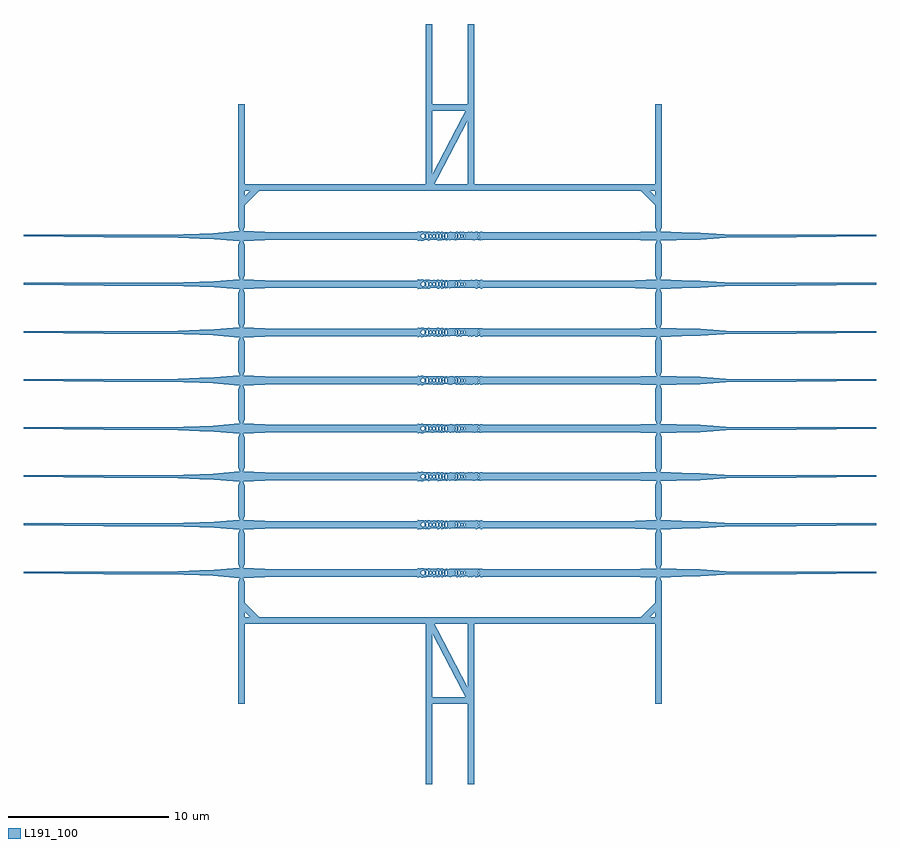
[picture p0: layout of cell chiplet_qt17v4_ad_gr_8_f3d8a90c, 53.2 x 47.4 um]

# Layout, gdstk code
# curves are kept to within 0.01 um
from math import pi, radians
import gdstk
lib = gdstk.Library(unit=1e-6, precision=1e-09)
def R(c, l, rs):  # rectangles x0, y0, x1, y1
    for r in rs: c.add(gdstk.rectangle(r[:2], r[2:], *l))
def P(c, l, *ps):  # polygons
    for p in ps: c.add(gdstk.Polygon(p, *l))
L191_100 = (191, 100)

qt17_180nm_gap_cavity_9e = lib.new_cell('QT17_180nm_gap_cavity_9e89cd71')
P(qt17_180nm_gap_cavity_9e, L191_100, [(-1.999,0.298),(-1.892,0.264),(-1.744,0.295),(-1.608,0.257),(-1.52,0.268),(-1.424,0.261),(-1.328,0.276),(-1.16,0.245),(-1,0.265),(-0.852,0.248),(-0.732,0.276),(-0.624,0.241),(-0.5,0.272),(-0.356,0.224),(-0.208,0.248),(-0.112,0.221),(0.012,0.26),(0.312,0.239),(0.424,0.263),(0.552,0.243),(0.64,0.264),(0.744,0.251),(0.816,0.26),(1.084,0.252),(1.148,0.263),(1.268,0.252),(1.336,0.265),(1.464,0.241),(1.668,0.268),(1.82,0.239),(1.928,0.267),(2,0.268),(2.002,0.057),(1.804,0.057),(1.831,0.066),(1.845,0.094),(1.83,0.15),(1.804,0.172),(1.76,0.154),(1.739,0.102),(1.748,0.079),(1.78,0.06),(2.002,0.057),(2.002,-0.172),(1.804,-0.172),(1.83,-0.15),(1.845,-0.106),(1.836,-0.071),(1.804,-0.057),(1.748,-0.079),(1.742,-0.123),(0.924,-0.123),(0.947,-0.086),(0.947,0.086),(0.924,0.123),(0.895,0.11),(0.874,0.058),(0.868,-0.014),(0.881,-0.083),(0.752,-0.083),(0.801,-0.042),(0.809,0.026),(0.786,0.062),(0.752,0.083),(0.707,0.058),(0.682,0.014),(0.682,-0.014),(0.732,-0.079),(0.881,-0.083),(0.916,-0.123),(1.742,-0.123),(1.778,-0.168),(0.548,-0.168),(0.598,-0.126),(0.642,-0.01),(0.598,0.126),(0.548,0.168),(0.52,0.159),(0.501,0.122),(0.53,0.014),(0.501,-0.122),(0.526,-0.163),(0.364,-0.163),(0.416,-0.14),(0.438,-0.106),(0.419,-0.01),(0.437,0.11),(0.412,0.143),(0.364,0.163),(0.33,0.138),(0.339,0.072),(0.2,0.072),(0.224,0.086),(0.23,0.11),(0.192,0.142),(0.168,0.136),(0.154,0.11),(0.18,0.072),(0.339,0.072),(0.362,0.006),(0.33,-0.098),(0.332,-0.142),(0.192,-0.142),(0.23,-0.11),(0.224,-0.086),(0.2,-0.072),(0.16,-0.087),(0.159,-0.126),(0.183,-0.142),(0.332,-0.142),(0.338,-0.152),(-0.212,-0.152),(-0.182,-0.138),(-0.173,-0.11),(-0.186,-0.026),(-0.174,0.122),(-0.212,0.152),(-0.272,0.136),(-0.298,0.09),(-0.298,-0.09),(-0.286,-0.122),(-0.248,-0.148),(0.338,-0.152),(0.36,-0.163),(0.536,-0.168),(1.78,-0.169),(-0.388,-0.169),(-0.36,-0.154),(-0.346,-0.122),(-0.387,-0.002),(-0.346,0.122),(-0.36,0.154),(-0.388,0.169),(-0.444,0.151),(-0.474,0.098),(-0.45,0.01),(-0.474,-0.098),(-0.453,-0.142),(-0.595,-0.142),(-0.554,-0.122),(-0.534,-0.09),(-0.549,-0.01),(-0.534,0.09),(-0.56,0.127),(-0.595,0.142),(-0.62,0.134),(-0.646,0.094),(-0.662,0.03),(-0.653,-0.074),(-0.62,-0.134),(-0.453,-0.142),(-0.425,-0.163),(-0.804,-0.163),(-0.763,-0.134),(-0.738,-0.07),(-0.742,0.09),(-0.766,0.138),(-0.804,0.163),(-0.834,0.15),(-0.858,0.094),(-0.855,-0.107),(-1,-0.107),(-0.95,-0.07),(-0.922,-0.01),(-0.94,0.056),(-1,0.107),(-1.048,0.082),(-1.081,0.01),(-1.065,-0.058),(-1.022,-0.103),(-1.204,-0.103),(-1.16,-0.068),(-1.138,-0.006),(-1.154,0.058),(-1.196,0.101),(-1.228,0.099),(-1.264,0.07),(-1.288,0.026),(-1.291,-0.01),(-1.264,-0.07),(-1.216,-0.103),(-0.855,-0.107),(-0.834,-0.15),(-0.812,-0.163),(2.002,-0.175),(-1.424,-0.175),(-1.379,-0.142),(-1.358,-0.07),(-1.366,0.114),(-1.392,0.158),(-1.424,0.175),(-1.469,0.154),(-1.501,0.09),(-1.487,0.01),(-1.501,-0.09),(-1.482,-0.136),(-1.656,-0.136),(-1.606,-0.106),(-1.583,-0.042),(-1.587,0.074),(-1.606,0.106),(-1.644,0.133),(-1.704,0.131),(-1.767,0.098),(-1.805,0.05),(-1.815,-0.01),(-1.79,-0.074),(-1.724,-0.124),(-1.68,-0.136),(-1.482,-0.136),(-1.436,-0.175),(2.002,-0.175),(2.002,-0.262),(1.928,-0.267),(1.82,-0.239),(1.668,-0.268),(1.464,-0.241),(1.336,-0.265),(1.268,-0.252),(1.148,-0.263),(1.084,-0.252),(0.816,-0.26),(0.744,-0.251),(0.64,-0.264),(0.552,-0.243),(0.424,-0.263),(0.312,-0.239),(0.012,-0.26),(-0.112,-0.221),(-0.208,-0.248),(-0.356,-0.224),(-0.5,-0.272),(-0.624,-0.241),(-0.732,-0.276),(-0.852,-0.248),(-1,-0.265),(-1.16,-0.245),(-1.328,-0.276),(-1.424,-0.261),(-1.52,-0.268),(-1.608,-0.257),(-1.744,-0.295),(-1.892,-0.264),(-2,-0.298)])

taper_cross_section_b099 = lib.new_cell('taper_cross_section_b0997aaa')
P(taper_cross_section_b099, L191_100, [(0,-0.23),(0.03,-0.23),(0.061,-0.23),(0.091,-0.23),(0.121,-0.23),(0.152,-0.23),(0.182,-0.23),(0.212,-0.23),(0.242,-0.23),(0.273,-0.23),(0.303,-0.23),(0.333,-0.23),(0.364,-0.23),(0.394,-0.23),(0.424,-0.23),(0.455,-0.23),(0.485,-0.23),(0.515,-0.23),(0.545,-0.23),(0.576,-0.23),(0.606,-0.23),(0.636,-0.23),(0.667,-0.23),(0.697,-0.23),(0.727,-0.23),(0.758,-0.23),(0.788,-0.23),(0.818,-0.23),(0.848,-0.23),(0.879,-0.23),(0.909,-0.23),(0.939,-0.23),(0.97,-0.23),(1,-0.23),(1.03,-0.23),(1.061,-0.23),(1.091,-0.23),(1.121,-0.23),(1.152,-0.23),(1.182,-0.23),(1.212,-0.23),(1.242,-0.23),(1.273,-0.23),(1.303,-0.23),(1.333,-0.23),(1.364,-0.23),(1.394,-0.23),(1.424,-0.23),(1.455,-0.23),(1.485,-0.23),(1.515,-0.23),(1.545,-0.23),(1.576,-0.23),(1.606,-0.23),(1.636,-0.23),(1.667,-0.23),(1.697,-0.23),(1.727,-0.23),(1.758,-0.23),(1.788,-0.23),(1.818,-0.23),(1.848,-0.23),(1.879,-0.23),(1.909,-0.23),(1.939,-0.23),(1.97,-0.23),(2,-0.23),(2.03,-0.23),(2.061,-0.23),(2.091,-0.23),(2.121,-0.23),(2.152,-0.23),(2.182,-0.23),(2.212,-0.23),(2.242,-0.23),(2.273,-0.23),(2.303,-0.23),(2.333,-0.23),(2.364,-0.23),(2.394,-0.23),(2.424,-0.23),(2.455,-0.23),(2.485,-0.23),(2.515,-0.23),(2.545,-0.23),(2.576,-0.23),(2.606,-0.23),(2.636,-0.23),(2.667,-0.23),(2.697,-0.23),(2.727,-0.23),(2.758,-0.23),(2.788,-0.23),(2.818,-0.23),(2.848,-0.23),(2.879,-0.23),(2.909,-0.23),(2.939,-0.23),(2.97,-0.23),(3,-0.23),(3,0.23),(2.97,0.23),(2.939,0.23),(2.909,0.23),(2.879,0.23),(2.848,0.23),(2.818,0.23),(2.788,0.23),(2.758,0.23),(2.727,0.23),(2.697,0.23),(2.667,0.23),(2.636,0.23),(2.606,0.23),(2.576,0.23),(2.545,0.23),(2.515,0.23),(2.485,0.23),(2.455,0.23),(2.424,0.23),(2.394,0.23),(2.364,0.23),(2.333,0.23),(2.303,0.23),(2.273,0.23),(2.242,0.23),(2.212,0.23),(2.182,0.23),(2.152,0.23),(2.121,0.23),(2.091,0.23),(2.061,0.23),(2.03,0.23),(2,0.23),(1.97,0.23),(1.939,0.23),(1.909,0.23),(1.879,0.23),(1.848,0.23),(1.818,0.23),(1.788,0.23),(1.758,0.23),(1.727,0.23),(1.697,0.23),(1.667,0.23),(1.636,0.23),(1.606,0.23),(1.576,0.23),(1.545,0.23),(1.515,0.23),(1.485,0.23),(1.455,0.23),(1.424,0.23),(1.394,0.23),(1.364,0.23),(1.333,0.23),(1.303,0.23),(1.273,0.23),(1.242,0.23),(1.212,0.23),(1.182,0.23),(1.152,0.23),(1.121,0.23),(1.091,0.23),(1.061,0.23),(1.03,0.23),(1,0.23),(0.97,0.23),(0.939,0.23),(0.909,0.23),(0.879,0.23),(0.848,0.23),(0.818,0.23),(0.788,0.23),(0.758,0.23),(0.727,0.23),(0.697,0.23),(0.667,0.23),(0.636,0.23),(0.606,0.23),(0.576,0.23),(0.545,0.23),(0.515,0.23),(0.485,0.23),(0.455,0.23),(0.424,0.23),(0.394,0.23),(0.364,0.23),(0.333,0.23),(0.303,0.23),(0.273,0.23),(0.242,0.23),(0.212,0.23),(0.182,0.23),(0.152,0.23),(0.121,0.23),(0.091,0.23),(0.061,0.23),(0.03,0.23),(0,0.23)])

taper_cross_section_83e5 = lib.new_cell('taper_cross_section_83e5c939')
P(taper_cross_section_83e5, L191_100, [(0,-0.23),(0.03,-0.23),(0.061,-0.23),(0.091,-0.23),(0.121,-0.23),(0.152,-0.23),(0.182,-0.23),(0.212,-0.23),(0.242,-0.23),(0.273,-0.23),(0.303,-0.23),(0.333,-0.23),(0.364,-0.23),(0.394,-0.23),(0.424,-0.23),(0.455,-0.23),(0.485,-0.23),(0.515,-0.23),(0.545,-0.23),(0.576,-0.23),(0.606,-0.23),(0.636,-0.23),(0.667,-0.23),(0.697,-0.23),(0.727,-0.23),(0.758,-0.23),(0.788,-0.23),(0.818,-0.23),(0.848,-0.23),(0.879,-0.23),(0.909,-0.23),(0.939,-0.23),(0.97,-0.23),(1,-0.23),(1.03,-0.23),(1.061,-0.23),(1.091,-0.23),(1.121,-0.23),(1.152,-0.23),(1.182,-0.23),(1.212,-0.23),(1.242,-0.23),(1.273,-0.23),(1.303,-0.23),(1.333,-0.23),(1.364,-0.23),(1.394,-0.23),(1.424,-0.23),(1.455,-0.23),(1.485,-0.23),(1.515,-0.23),(1.545,-0.23),(1.576,-0.23),(1.606,-0.23),(1.636,-0.23),(1.667,-0.23),(1.697,-0.23),(1.727,-0.23),(1.758,-0.23),(1.788,-0.23),(1.818,-0.23),(1.848,-0.23),(1.879,-0.23),(1.909,-0.23),(1.939,-0.23),(1.97,-0.23),(2,-0.23),(2.03,-0.23),(2.061,-0.23),(2.091,-0.23),(2.121,-0.23),(2.152,-0.23),(2.182,-0.23),(2.212,-0.23),(2.242,-0.23),(2.273,-0.23),(2.303,-0.23),(2.333,-0.23),(2.364,-0.23),(2.394,-0.23),(2.424,-0.23),(2.455,-0.23),(2.485,-0.23),(2.515,-0.23),(2.545,-0.23),(2.576,-0.23),(2.606,-0.23),(2.636,-0.23),(2.667,-0.23),(2.697,-0.23),(2.727,-0.23),(2.758,-0.23),(2.788,-0.23),(2.818,-0.23),(2.848,-0.23),(2.879,-0.23),(2.909,-0.23),(2.939,-0.23),(2.97,-0.23),(3,-0.23),(3,0.23),(2.97,0.23),(2.939,0.23),(2.909,0.23),(2.879,0.23),(2.848,0.23),(2.818,0.23),(2.788,0.23),(2.758,0.23),(2.727,0.23),(2.697,0.23),(2.667,0.23),(2.636,0.23),(2.606,0.23),(2.576,0.23),(2.545,0.23),(2.515,0.23),(2.485,0.23),(2.455,0.23),(2.424,0.23),(2.394,0.23),(2.364,0.23),(2.333,0.23),(2.303,0.23),(2.273,0.23),(2.242,0.23),(2.212,0.23),(2.182,0.23),(2.152,0.23),(2.121,0.23),(2.091,0.23),(2.061,0.23),(2.03,0.23),(2,0.23),(1.97,0.23),(1.939,0.23),(1.909,0.23),(1.879,0.23),(1.848,0.23),(1.818,0.23),(1.788,0.23),(1.758,0.23),(1.727,0.23),(1.697,0.23),(1.667,0.23),(1.636,0.23),(1.606,0.23),(1.576,0.23),(1.545,0.23),(1.515,0.23),(1.485,0.23),(1.455,0.23),(1.424,0.23),(1.394,0.23),(1.364,0.23),(1.333,0.23),(1.303,0.23),(1.273,0.23),(1.242,0.23),(1.212,0.23),(1.182,0.23),(1.152,0.23),(1.121,0.23),(1.091,0.23),(1.061,0.23),(1.03,0.23),(1,0.23),(0.97,0.23),(0.939,0.23),(0.909,0.23),(0.879,0.23),(0.848,0.23),(0.818,0.23),(0.788,0.23),(0.758,0.23),(0.727,0.23),(0.697,0.23),(0.667,0.23),(0.636,0.23),(0.606,0.23),(0.576,0.23),(0.545,0.23),(0.515,0.23),(0.485,0.23),(0.455,0.23),(0.424,0.23),(0.394,0.23),(0.364,0.23),(0.333,0.23),(0.303,0.23),(0.273,0.23),(0.242,0.23),(0.212,0.23),(0.182,0.23),(0.152,0.23),(0.121,0.23),(0.091,0.23),(0.061,0.23),(0.03,0.23),(0,0.23)])

coupled_qbit_6317cdc5 = lib.new_cell('coupled_qbit_6317cdc5')
coupled_qbit_6317cdc5.add(gdstk.Reference(qt17_180nm_gap_cavity_9e, (0,0)))
coupled_qbit_6317cdc5.add(gdstk.Reference(taper_cross_section_b099, (5.002,0), rotation=pi))
coupled_qbit_6317cdc5.add(gdstk.Reference(taper_cross_section_83e5, (-2.002,0), rotation=pi))

straight_15000633 = lib.new_cell('straight_15000633')
R(straight_15000633, L191_100, [(0,-0.23,5.898,0.23)])

compass_d79f009c = lib.new_cell('compass_d79f009c')
R(compass_d79f009c, L191_100, [(-0.1,-0.3,0.1,0.3)])

rectangle_ed88580b = lib.new_cell('rectangle_ed88580b')
rectangle_ed88580b.add(gdstk.Reference(compass_d79f009c, (0,0)))

taper_cross_section_74e0 = lib.new_cell('taper_cross_section_74e0f155')
P(taper_cross_section_74e0, L191_100, [(0,-0.225),(2,-0.3),(2,0.3),(0,0.225)])

taper_cross_section_a297 = lib.new_cell('taper_cross_section_a2972c19')
P(taper_cross_section_a297, L191_100, [(0,-0.23),(2,-0.3),(2,0.3),(0,0.23)])

taper_cross_section_20e0 = lib.new_cell('taper_cross_section_20e0bc68')
P(taper_cross_section_20e0, L191_100, [(0,-0.1),(0.25,-0.2),(0.25,0.2),(0,0.1)])

support_cross_f89d0b61 = lib.new_cell('support_cross_f89d0b61')
support_cross_f89d0b61.add(gdstk.Reference(rectangle_ed88580b, (0,0)))
support_cross_f89d0b61.add(gdstk.Reference(taper_cross_section_74e0, (2.1,0), rotation=pi))
support_cross_f89d0b61.add(gdstk.Reference(taper_cross_section_a297, (-2.1,0)))
support_cross_f89d0b61.add(gdstk.Reference(taper_cross_section_20e0, (0,0.3), rotation=pi/2))
support_cross_f89d0b61.add(gdstk.Reference(taper_cross_section_20e0, (0,-0.3), rotation=3*pi/2))

compass_87a1f7e4 = lib.new_cell('compass_87a1f7e4')
R(compass_87a1f7e4, L191_100, [(-0.1,-0.325,0.1,0.325)])

rectangle_03c840df = lib.new_cell('rectangle_03c840df')
rectangle_03c840df.add(gdstk.Reference(compass_87a1f7e4, (0,0)))

taper_cross_section_66c0 = lib.new_cell('taper_cross_section_66c08956')
P(taper_cross_section_66c0, L191_100, [(0,-0.23),(2,-0.325),(2,0.325),(0,0.23)])

taper_cross_section_2160 = lib.new_cell('taper_cross_section_2160c1e2')
P(taper_cross_section_2160, L191_100, [(0,-0.155),(2,-0.325),(2,0.325),(0,0.155)])

support_cross_91ce4cfd = lib.new_cell('support_cross_91ce4cfd')
support_cross_91ce4cfd.add(gdstk.Reference(rectangle_03c840df, (0,0)))
support_cross_91ce4cfd.add(gdstk.Reference(taper_cross_section_66c0, (2.1,0), rotation=pi))
support_cross_91ce4cfd.add(gdstk.Reference(taper_cross_section_2160, (-2.1,0)))
support_cross_91ce4cfd.add(gdstk.Reference(taper_cross_section_20e0, (0,0.325), rotation=pi/2))
support_cross_91ce4cfd.add(gdstk.Reference(taper_cross_section_20e0, (0,-0.325), rotation=3*pi/2))

inverse_design_qbit_beam = lib.new_cell('inverse_design_qbit_beam_354d9353')
inverse_design_qbit_beam.add(gdstk.Reference(coupled_qbit_6317cdc5, (0,0)))
inverse_design_qbit_beam.add(gdstk.Reference(straight_15000633, (-5.002,0), rotation=pi))
inverse_design_qbit_beam.add(gdstk.Reference(straight_15000633, (5.002,0)))
inverse_design_qbit_beam.add(gdstk.Reference(support_cross_f89d0b61, (13,0)))
inverse_design_qbit_beam.add(gdstk.Reference(support_cross_91ce4cfd, (-13,0)))

c_inverse_design_qbit_beam = lib.new_cell('inverse_design_qbit_beam_array_f66c055c')
r = gdstk.Reference(inverse_design_qbit_beam, (0,0)); r.repetition = gdstk.Repetition(1, 8, v1=(1,0), v2=(0,3)); c_inverse_design_qbit_beam.add(r)

straight_cc08c24d = lib.new_cell('straight_cc08c24d')
R(straight_cc08c24d, L191_100, [(0,-0.2,1.85,0.2)])

straight_7ad87ee6 = lib.new_cell('straight_7ad87ee6')
R(straight_7ad87ee6, L191_100, [(0,-0.2,1.9,0.2)])

qbit_beam_array_034537eb = lib.new_cell('qbit_beam_array_034537eb')
qbit_beam_array_034537eb.add(gdstk.Reference(c_inverse_design_qbit_beam, (0,0)))
qbit_beam_array_034537eb.add(gdstk.Reference(straight_cc08c24d, (-13,0.575), rotation=pi/2))
qbit_beam_array_034537eb.add(gdstk.Reference(straight_7ad87ee6, (13,0.55), rotation=pi/2))
qbit_beam_array_034537eb.add(gdstk.Reference(straight_cc08c24d, (-13,3.575), rotation=pi/2))
qbit_beam_array_034537eb.add(gdstk.Reference(straight_7ad87ee6, (13,3.55), rotation=pi/2))
qbit_beam_array_034537eb.add(gdstk.Reference(straight_cc08c24d, (-13,6.575), rotation=pi/2))
qbit_beam_array_034537eb.add(gdstk.Reference(straight_7ad87ee6, (13,6.55), rotation=pi/2))
qbit_beam_array_034537eb.add(gdstk.Reference(straight_cc08c24d, (-13,9.575), rotation=pi/2))
qbit_beam_array_034537eb.add(gdstk.Reference(straight_7ad87ee6, (13,9.55), rotation=pi/2))
qbit_beam_array_034537eb.add(gdstk.Reference(straight_cc08c24d, (-13,12.575), rotation=pi/2))
qbit_beam_array_034537eb.add(gdstk.Reference(straight_7ad87ee6, (13,12.55), rotation=pi/2))
qbit_beam_array_034537eb.add(gdstk.Reference(straight_cc08c24d, (-13,15.575), rotation=pi/2))
qbit_beam_array_034537eb.add(gdstk.Reference(straight_7ad87ee6, (13,15.55), rotation=pi/2))
qbit_beam_array_034537eb.add(gdstk.Reference(straight_cc08c24d, (-13,18.575), rotation=pi/2))
qbit_beam_array_034537eb.add(gdstk.Reference(straight_7ad87ee6, (13,18.55), rotation=pi/2))

l_c8ea28a7 = lib.new_cell('L_c8ea28a7')
P(l_c8ea28a7, L191_100, [(-0.2,-0.2),(1.3,-0.2),(1.3,0.2),(0.2,0.2),(0.2,1.3),(-0.2,1.3),(-0.2,-0.2)])

extrude_f667d802 = lib.new_cell('extrude_f667d802')
P(extrude_f667d802, L191_100, [(1.181,0.141),(0.141,1.181),(-0.141,0.899),(0.899,-0.141)])

chiplet_frame_corner_fb6 = lib.new_cell('chiplet_frame_corner_fb6255ab')
chiplet_frame_corner_fb6.add(gdstk.Reference(l_c8ea28a7, (0,0)))
chiplet_frame_corner_fb6.add(gdstk.Reference(extrude_f667d802, (0,0)))

compass_2ac69cab = lib.new_cell('compass_2ac69cab')
R(compass_2ac69cab, L191_100, [(-0.2,-0.2,0.2,0.2)])

rectangle_2ac69cab = lib.new_cell('rectangle_2ac69cab')
rectangle_2ac69cab.add(gdstk.Reference(compass_2ac69cab, (0.2,0.2)))

straight_c0c98653 = lib.new_cell('straight_c0c98653')
R(straight_c0c98653, L191_100, [(0,-0.2,2,0.2)])

straight_d8296038 = lib.new_cell('straight_d8296038')
R(straight_d8296038, L191_100, [(0,-0.2,7.4,0.2)])

straight_0f47a090 = lib.new_cell('straight_0f47a090')
R(straight_0f47a090, L191_100, [(0,-0.2,2.2,0.2)])

straight_ca39a7c7 = lib.new_cell('straight_ca39a7c7')
R(straight_ca39a7c7, L191_100, [(0,-0.2,4.6,0.2)])

extrude_b28737ee = lib.new_cell('extrude_b28737ee')
P(extrude_b28737ee, L191_100, [(10.777,0.108),(13.377,5.108),(13.023,5.292),(10.423,0.292)])

breakout_midsection_7238 = lib.new_cell('breakout_midsection_7238e00b')
breakout_midsection_7238.add(gdstk.Reference(rectangle_2ac69cab, (0.2,0)))
breakout_midsection_7238.add(gdstk.Reference(rectangle_2ac69cab, (2.6,0)))
breakout_midsection_7238.add(gdstk.Reference(rectangle_2ac69cab, (10.4,0)))
breakout_midsection_7238.add(gdstk.Reference(rectangle_2ac69cab, (13,0)))
breakout_midsection_7238.add(gdstk.Reference(rectangle_2ac69cab, (20.8,0)))
breakout_midsection_7238.add(gdstk.Reference(rectangle_2ac69cab, (23.2,0)))
breakout_midsection_7238.add(gdstk.Reference(rectangle_2ac69cab, (10.4,5)))
breakout_midsection_7238.add(gdstk.Reference(rectangle_2ac69cab, (13,5)))
breakout_midsection_7238.add(gdstk.Reference(rectangle_2ac69cab, (10.4,10)))
breakout_midsection_7238.add(gdstk.Reference(rectangle_2ac69cab, (13,10)))
breakout_midsection_7238.add(gdstk.Reference(straight_c0c98653, (0.6,0.2)))
breakout_midsection_7238.add(gdstk.Reference(straight_d8296038, (3,0.2)))
breakout_midsection_7238.add(gdstk.Reference(straight_0f47a090, (10.8,0.2)))
breakout_midsection_7238.add(gdstk.Reference(straight_d8296038, (13.4,0.2)))
breakout_midsection_7238.add(gdstk.Reference(straight_c0c98653, (21.2,0.2)))
breakout_midsection_7238.add(gdstk.Reference(straight_0f47a090, (10.8,5.2)))
breakout_midsection_7238.add(gdstk.Reference(straight_ca39a7c7, (10.6,0.4), rotation=pi/2))
breakout_midsection_7238.add(gdstk.Reference(straight_ca39a7c7, (10.6,5.4), rotation=pi/2))
breakout_midsection_7238.add(gdstk.Reference(straight_ca39a7c7, (13.2,0.4), rotation=pi/2))
breakout_midsection_7238.add(gdstk.Reference(straight_ca39a7c7, (13.2,5.4), rotation=pi/2))
breakout_midsection_7238.add(gdstk.Reference(extrude_b28737ee, (0,0)))

straight_b8c71607 = lib.new_cell('straight_b8c71607')
R(straight_b8c71607, L191_100, [(0,-0.2,5,0.2)])

breakout_support_structu = lib.new_cell('breakout_support_structure_363ea766')
breakout_support_structu.add(gdstk.Reference(chiplet_frame_corner_fb6, (-1.1,0.2), x_reflection=True))
breakout_support_structu.add(gdstk.Reference(chiplet_frame_corner_fb6, (24.9,0.2), rotation=pi))
breakout_support_structu.add(gdstk.Reference(breakout_midsection_7238, (0,0)))
breakout_support_structu.add(gdstk.Reference(straight_b8c71607, (-1.1,0.4), rotation=pi/2))
breakout_support_structu.add(gdstk.Reference(straight_b8c71607, (24.9,0.4), rotation=pi/2))

straight_2f2d2c75 = lib.new_cell('straight_2f2d2c75')
R(straight_2f2d2c75, L191_100, [(0,-0.2,1.155,0.2)])

straight_f5ab2834 = lib.new_cell('straight_f5ab2834')
R(straight_f5ab2834, L191_100, [(0,-0.2,1.18,0.2)])

c_breakout_support_structu = lib.new_cell('breakout_support_structure_with_base_extension_5c3bd4ee')
c_breakout_support_structu.add(gdstk.Reference(breakout_support_structu, (0,0)))
c_breakout_support_structu.add(gdstk.Reference(straight_2f2d2c75, (-1.1,-1.1), rotation=3*pi/2))
c_breakout_support_structu.add(gdstk.Reference(straight_f5ab2834, (24.9,-1.1), rotation=3*pi/2))

straight_6bc4b7b7 = lib.new_cell('straight_6bc4b7b7')
R(straight_6bc4b7b7, L191_100, [(0,-0.2,1.095,0.2)])

straight_a05f0073 = lib.new_cell('straight_a05f0073')
R(straight_a05f0073, L191_100, [(0,-0.2,1.12,0.2)])

c_breakout_support_structu_ = lib.new_cell('breakout_support_structure_with_base_extension_84308aab')
c_breakout_support_structu_.add(gdstk.Reference(breakout_support_structu, (0,0)))
c_breakout_support_structu_.add(gdstk.Reference(straight_6bc4b7b7, (-1.1,-1.1), rotation=3*pi/2))
c_breakout_support_structu_.add(gdstk.Reference(straight_a05f0073, (24.9,-1.1), rotation=3*pi/2))

qt_chiplet_v2_34d93dbd = lib.new_cell('qt_chiplet_v2_34d93dbd')
qt_chiplet_v2_34d93dbd.add(gdstk.Reference(qbit_beam_array_034537eb, (0,0)))
qt_chiplet_v2_34d93dbd.add(gdstk.Reference(c_breakout_support_structu, (-11.9,23.83)))
qt_chiplet_v2_34d93dbd.add(gdstk.Reference(c_breakout_support_structu_, (-11.9,-2.77), x_reflection=True))

chiplet_qt17v4_8d6b0e8d = lib.new_cell('chiplet_qt17v4_8d6b0e8d')
chiplet_qt17v4_8d6b0e8d.add(gdstk.Reference(qt_chiplet_v2_34d93dbd, (0,0)))

straight_5b8eeee8 = lib.new_cell('straight_5b8eeee8')
R(straight_5b8eeee8, L191_100, [(0,-0.155,0.5,0.155)])

taper_9b1bdfca = lib.new_cell('taper_9b1bdfca')
P(taper_9b1bdfca, L191_100, [(0,0.155),(2,0.08),(2,-0.08),(0,-0.155)])

straight_3af902ff = lib.new_cell('straight_3af902ff')
R(straight_3af902ff, L191_100, [(0,-0.08,4,0.08)])

ramp_6c3b3d98 = lib.new_cell('ramp_6c3b3d98')
P(ramp_6c3b3d98, L191_100, [(0,0.16),(5,0.1),(5,0),(0,0)])

xceleprint_d_sin_transit = lib.new_cell('xceleprint_d_sin_transition_7fae5980')
xceleprint_d_sin_transit.add(gdstk.Reference(straight_5b8eeee8, (0,0)))
xceleprint_d_sin_transit.add(gdstk.Reference(taper_9b1bdfca, (0.5,0)))
xceleprint_d_sin_transit.add(gdstk.Reference(straight_3af902ff, (2.5,0)))
xceleprint_d_sin_transit.add(gdstk.Reference(ramp_6c3b3d98, (6.5,0.08), x_reflection=True))

straight_ee09d4de = lib.new_cell('straight_ee09d4de')
R(straight_ee09d4de, L191_100, [(0,-0.225,0.5,0.225)])

taper_5277910b = lib.new_cell('taper_5277910b')
P(taper_5277910b, L191_100, [(0,0.225),(2,0.08),(2,-0.08),(0,-0.225)])

c_xceleprint_d_sin_transit = lib.new_cell('xceleprint_d_sin_transition_d7fa76c1')
c_xceleprint_d_sin_transit.add(gdstk.Reference(straight_ee09d4de, (0,0)))
c_xceleprint_d_sin_transit.add(gdstk.Reference(taper_5277910b, (0.5,0)))
c_xceleprint_d_sin_transit.add(gdstk.Reference(straight_3af902ff, (2.5,0)))
c_xceleprint_d_sin_transit.add(gdstk.Reference(ramp_6c3b3d98, (6.5,0.08), x_reflection=True))

chiplet_qt17v4_ad_gr_8_f = lib.new_cell('chiplet_qt17v4_ad_gr_8_f3d8a90c')
chiplet_qt17v4_ad_gr_8_f.add(gdstk.Reference(chiplet_qt17v4_8d6b0e8d, (0,-10.53)))
chiplet_qt17v4_ad_gr_8_f.add(gdstk.Reference(xceleprint_d_sin_transit, (-15.1,-10.53), rotation=pi, x_reflection=True))
chiplet_qt17v4_ad_gr_8_f.add(gdstk.Reference(xceleprint_d_sin_transit, (-15.1,-7.53), rotation=pi, x_reflection=True))
chiplet_qt17v4_ad_gr_8_f.add(gdstk.Reference(xceleprint_d_sin_transit, (-15.1,-4.53), rotation=pi, x_reflection=True))
chiplet_qt17v4_ad_gr_8_f.add(gdstk.Reference(xceleprint_d_sin_transit, (-15.1,-1.53), rotation=pi, x_reflection=True))
chiplet_qt17v4_ad_gr_8_f.add(gdstk.Reference(xceleprint_d_sin_transit, (-15.1,1.47), rotation=pi, x_reflection=True))
chiplet_qt17v4_ad_gr_8_f.add(gdstk.Reference(xceleprint_d_sin_transit, (-15.1,4.47), rotation=pi, x_reflection=True))
chiplet_qt17v4_ad_gr_8_f.add(gdstk.Reference(xceleprint_d_sin_transit, (-15.1,7.47), rotation=pi, x_reflection=True))
chiplet_qt17v4_ad_gr_8_f.add(gdstk.Reference(xceleprint_d_sin_transit, (-15.1,10.47), rotation=pi, x_reflection=True))
chiplet_qt17v4_ad_gr_8_f.add(gdstk.Reference(c_xceleprint_d_sin_transit, (15.1,10.47)))
chiplet_qt17v4_ad_gr_8_f.add(gdstk.Reference(c_xceleprint_d_sin_transit, (15.1,7.47)))
chiplet_qt17v4_ad_gr_8_f.add(gdstk.Reference(c_xceleprint_d_sin_transit, (15.1,4.47)))
chiplet_qt17v4_ad_gr_8_f.add(gdstk.Reference(c_xceleprint_d_sin_transit, (15.1,1.47)))
chiplet_qt17v4_ad_gr_8_f.add(gdstk.Reference(c_xceleprint_d_sin_transit, (15.1,-1.53)))
chiplet_qt17v4_ad_gr_8_f.add(gdstk.Reference(c_xceleprint_d_sin_transit, (15.1,-4.53)))
chiplet_qt17v4_ad_gr_8_f.add(gdstk.Reference(c_xceleprint_d_sin_transit, (15.1,-7.53)))
chiplet_qt17v4_ad_gr_8_f.add(gdstk.Reference(c_xceleprint_d_sin_transit, (15.1,-10.53)))

lib.write_gds('chiplet_qt17v4_ad_gr_8_f3d8a90c.gds')
